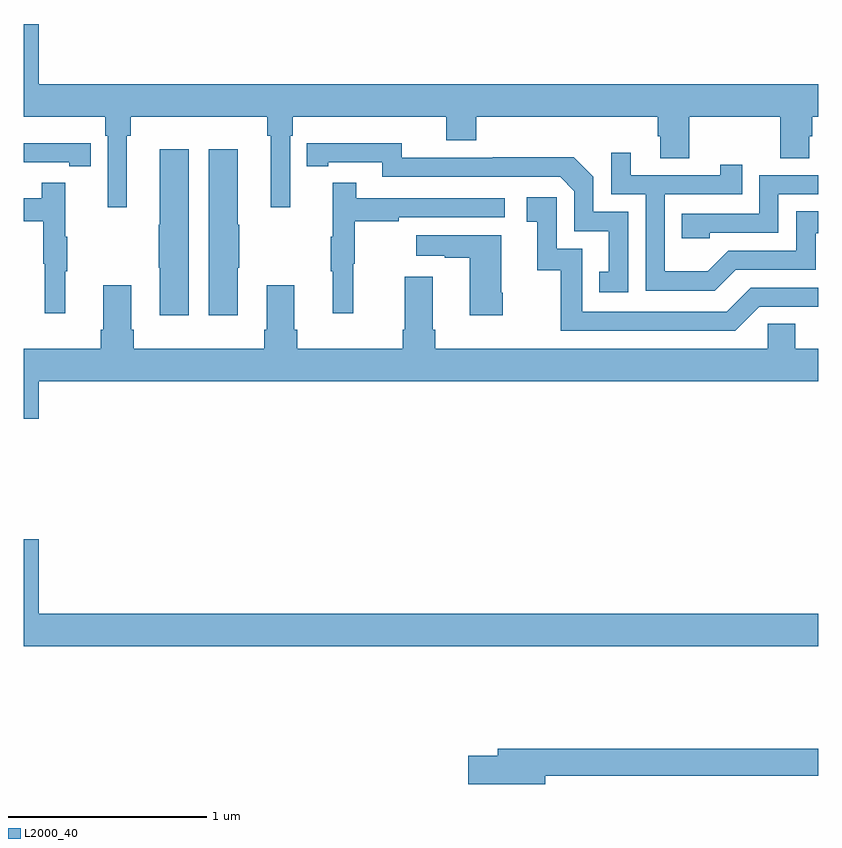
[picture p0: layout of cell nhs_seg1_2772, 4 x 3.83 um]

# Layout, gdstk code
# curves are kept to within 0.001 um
import gdstk
lib = gdstk.Library(unit=1e-6, precision=1e-09)
def P(c, l, *ps):  # polygons
    for p in ps: c.add(gdstk.Polygon(p, *l))
L2000_40 = (2000, 40)

nhs_seg1_2772 = lib.new_cell('nhs_seg1_2772')
P(nhs_seg1_2772, L2000_40, [(261.52,551.636),(261.539,551.636),(261.539,551.732),(262.225,551.732),(262.225,551.636),(262.244,551.636),(262.244,551.277),(262.341,551.277),(262.341,551.636),(262.355,551.636),(262.355,551.732),(263.126,551.732),(263.126,551.615),(263.279,551.615),(263.279,551.732),(264.191,551.732),(264.191,551.634),(264.203,551.634),(264.203,551.524),(264.351,551.524),(264.351,551.732),(264.808,551.732),(264.808,551.524),(264.955,551.524),(264.955,551.634),(264.968,551.634),(264.968,551.732),(265,551.732),(265,551.896),(261.076,551.896),(261.076,552.199),(261,552.199),(261,551.732),(261.41,551.732),(261.41,551.636),(261.423,551.636),(261.423,551.277),(261.52,551.277)],
  [(264.042,551.253),(263.868,551.253),(263.868,551.43),(263.77,551.528),(263.362,551.528),(263.362,551.526),(262.902,551.526),(262.902,551.599),(262.426,551.598),(262.426,551.482),(262.534,551.482),(262.534,551.502),(262.806,551.502),(262.806,551.43),(263.7,551.43),(263.772,551.358),(263.772,551.157),(263.945,551.157),(263.945,550.953),(263.896,550.953),(263.896,550.848),(264.042,550.848)],
  [(261.338,551.598),(261.23,551.598),(261.23,551.599),(261,551.599),(261,551.502),(261.23,551.502),(261.23,551.482),(261.338,551.482)],
  [(262.078,550.972),(262.086,550.972),(262.086,551.189),(262.078,551.189),(262.078,551.569),(261.932,551.569),(261.932,550.734),(262.078,550.734)],
  [(261.832,551.569),(261.686,551.569),(261.686,551.189),(261.679,551.189),(261.679,550.972),(261.686,550.972),(261.686,550.734),(261.832,550.734)],
  [(264.583,550.962),(264.987,550.962),(264.987,551.147),(265,551.147),(265,551.257),(264.888,551.257),(264.888,551.058),(264.546,551.058),(264.442,550.954),(264.228,550.954),(264.228,551.343),(264.617,551.343),(264.617,551.491),(264.506,551.491),(264.506,551.439),(264.055,551.439),(264.055,551.551),(263.958,551.551),(263.958,551.343),(264.132,551.343),(264.132,550.857),(264.478,550.857)],
  [(264.453,551.148),(264.798,551.148),(264.798,551.343),(265,551.343),(265,551.439),(264.702,551.439),(264.702,551.244),(264.313,551.244),(264.313,551.121),(264.453,551.121)],
  [(261.209,550.955),(261.22,550.955),(261.22,551.129),(261.209,551.129),(261.209,551.401),(261.091,551.401),(261.091,551.322),(261,551.322),(261,551.206),(261.099,551.206),(261.099,550.992),(261.106,550.992),(261.106,550.743),(261.209,550.743)],
  [(262.658,550.992),(262.666,550.992),(262.666,551.206),(262.889,551.206),(262.889,551.226),(263.422,551.226),(263.422,551.322),(262.673,551.322),(262.673,551.401),(262.556,551.401),(262.556,551.129),(262.545,551.129),(262.545,550.955),(262.556,550.955),(262.556,550.743),(262.658,550.743)],
  [(264.702,550.776),(265,550.776),(265,550.872),(264.66,550.872),(264.54,550.752),(263.811,550.752),(263.811,551.067),(263.682,551.067),(263.682,551.326),(263.532,551.326),(263.532,551.205),(263.585,551.205),(263.585,550.959),(263.703,550.959),(263.703,550.656),(264.582,550.656)],
  [(263.412,550.846),(263.404,550.846),(263.404,551.137),(262.977,551.137),(262.977,551.033),(263.12,551.033),(263.12,551.023),(263.246,551.023),(263.246,550.734),(263.412,550.734)],
  [(261.076,550.4),(265,550.4),(265,550.564),(264.883,550.564),(264.883,550.691),(264.744,550.691),(264.744,550.564),(263.072,550.564),(263.072,550.66),(263.059,550.66),(263.059,550.927),(262.919,550.927),(262.919,550.66),(262.907,550.66),(262.907,550.564),(262.376,550.564),(262.376,550.66),(262.363,550.66),(262.363,550.885),(262.223,550.885),(262.223,550.66),(262.211,550.66),(262.211,550.564),(261.554,550.564),(261.554,550.66),(261.541,550.66),(261.541,550.885),(261.401,550.885),(261.401,550.66),(261.389,550.66),(261.389,550.564),(261,550.564),(261,550.212),(261.076,550.212)],
  [(265,549.232),(261.076,549.232),(261.076,549.607),(261,549.607),(261,549.068),(265,549.068)],
  [(263.626,548.416),(265,548.416),(265,548.552),(263.387,548.552),(263.387,548.516),(263.238,548.516),(263.238,548.374),(263.626,548.374)])

lib.write_gds('nhs_seg1_2772.gds')
